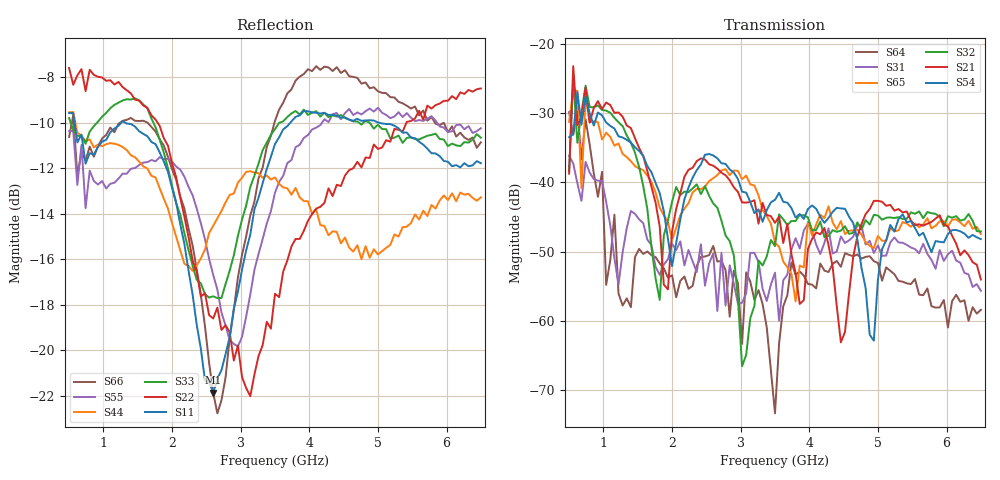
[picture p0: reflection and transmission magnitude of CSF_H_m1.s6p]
!Keysight Technologies,M9804A,MY58100912,A.14.10.03
!Date: Thursday, April 27, 2023 10:28:33
!Correction: S11(C  6-Port  )
!S12(C  6-Port  )
!S13(C  6-Port  )
!S14(C  6-Port  )
!S15(C  6-Port  )
!S16(C  6-Port  )
!S21(C  6-Port  )
!S22(C  6-Port  )
!S23(C  6-Port  )
!S24(C  6-Port  )
!S25(C  6-Port  )
!S26(C  6-Port  )
!S31(C  6-Port  )
!S32(C  6-Port  )
!S33(C  6-Port  )
!S34(C  6-Port  )
!S35(C  6-Port  )
!S36(C  6-Port  )
!S41(C  6-Port  )
!S42(C  6-Port  )
!S43(C  6-Port  )
!S44(C  6-Port  )
!S45(C  6-Port  )
!S46(C  6-Port  )
!S51(C  6-Port  )
!S52(C  6-Port  )
!S53(C  6-Port  )
!S54(C  6-Port  )
!S55(C  6-Port  )
!S56(C  6-Port  )
!S61(C  6-Port  )
!S62(C  6-Port  )
!S63(C  6-Port  )
!S64(C  6-Port  )
!S65(C  6-Port  )
!S66(C  6-Port  )
!S6P File: Measurement: :
# Hz S  RI  R 50
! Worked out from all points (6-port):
!   101 points, 500 MHz to 6.5 GHz, reference 50 ohm
!   strongest paths, dB at 500 MHz, 2 GHz, 3.5 GHz, 5 GHz, 6.5 GHz:
!     S54: -33.5, -52.1, -42.5, -54.0, -48.2
!     S21: -38.7, -47.1, -45.8, -42.7, -54.0
!     S32: -38.4, -42.8, -49.2, -44.8, -47.1
!     S65: -31.3, -48.4, -48.7, -47.8, -47.5
!     S31: -36.2, -48.9, -53.1, -49.1, -55.7
!     S64: -29.9, -53.4, -73.4, -51.6, -58.4
!   lowest |S11| = -21.9 dB at 2.6 GHz (marker M1), VSWR 1.18, Z = 42.8 + j1.97 ohm
!   |S11| at or under -10 dB: 579.5 MHz to 1.259 GHz (679.6 MHz wide, 73.9 % of centre); 1.321 GHz to 3.722 GHz (2.401 GHz wide, 95.2 % of centre); 5.022 GHz to end of sweep
